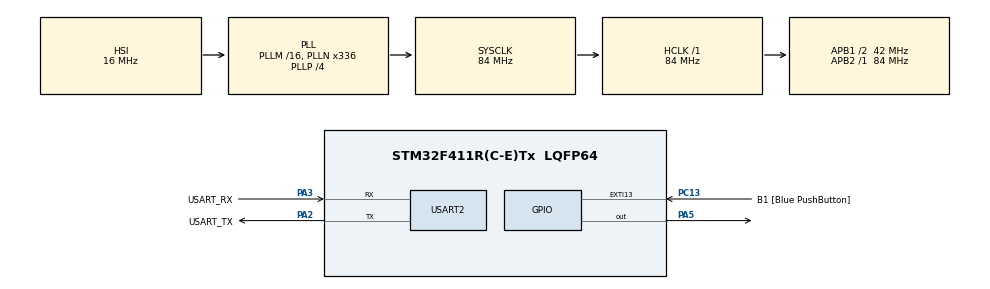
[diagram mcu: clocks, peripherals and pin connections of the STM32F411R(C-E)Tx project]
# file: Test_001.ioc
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Mcu.Family=STM32F4
Mcu.Name=STM32F411R(C-E)Tx
Mcu.Package=LQFP64
NVIC.PriorityGroup=NVIC_PRIORITYGROUP_0
NVIC.TIM3_IRQn=true\:0\:0\:false\:false\:true\:true\:true\:true
PA13.GPIO_Label=TMS
PA13.Mode=Serial_Wire
PA13.Signal=SYS_JTMS-SWDIO
PA14.GPIO_Label=TCK
PA14.Mode=Serial_Wire
PA14.Signal=SYS_JTCK-SWCLK
PA2.GPIO_Label=USART_TX
PA2.Mode=Asynchronous
PA2.Signal=USART2_TX
PA3.GPIO_Label=USART_RX
PA3.Mode=Asynchronous
PA3.Signal=USART2_RX
PA5.Signal=GPIO_Output
PA6.Signal=S_TIM3_CH1
PB3.GPIO_Label=SWO
PB3.Signal=SYS_JTDO-SWO
PC13-ANTI_TAMP.GPIO_Label=B1 [Blue PushButton]
PC13-ANTI_TAMP.GPIO_ModeDefaultEXTI=GPIO_MODE_IT_FALLING
PC13-ANTI_TAMP.Signal=GPXTI13
PC14-OSC32_IN.Mode=LSE-External-Oscillator
PC14-OSC32_IN.Signal=RCC_OSC32_IN
PC15-OSC32_OUT.Mode=LSE-External-Oscillator
PC15-OSC32_OUT.Signal=RCC_OSC32_OUT
PH0\ -\ OSC_IN.Mode=HSE-External-Clock-Source
PH0\ -\ OSC_IN.Signal=RCC_OSC_IN
PH1\ -\ OSC_OUT.Mode=HSE-External-Clock-Source
PH1\ -\ OSC_OUT.Signal=RCC_OSC_OUT
ProjectManager.HeapSize=0x200
ProjectManager.StackSize=0x400
ProjectManager.TargetToolchain=STM32CubeIDE
RCC.48MHZClocksFreq_Value=84000000
RCC.AHBFreq_Value=84000000
RCC.APB1CLKDivider=RCC_HCLK_DIV2
RCC.APB1Freq_Value=42000000
RCC.APB1TimFreq_Value=84000000
RCC.APB2Freq_Value=84000000
RCC.APB2TimFreq_Value=84000000
RCC.CortexFreq_Value=84000000
RCC.FLatency-AdvancedSettings=FLASH_LATENCY_2
RCC.HCLKFreq_Value=84000000
RCC.HSE_VALUE=8000000
RCC.HSI_VALUE=16000000
RCC.PLLN=336
RCC.PLLP=RCC_PLLP_DIV4
RCC.SYSCLKFreq_VALUE=84000000
RCC.SYSCLKSource=RCC_SYSCLKSOURCE_PLLCLK
RCC.VCOOutputFreq_Value=336000000
SH.S_TIM3_CH1.0=TIM3_CH1
TIM3.Period=90-1
TIM3.Prescaler=90-1
USART2.VirtualMode=VM_ASYNC
VP_TIM3_VS_ClockSourceINT.Mode=Internal
board=NUCLEO-F411RE

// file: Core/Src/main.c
/* USER CODE BEGIN Header */
/**
  ******************************************************************************
  * @file           : main.c
  * @brief          : Main program body
  ******************************************************************************
  * @attention
  *
  * Copyright (c) 2025 STMicroelectronics.
  * All rights reserved.
  *
  * This software is licensed under terms that can be found in the LICENSE file
  * in the root directory of this software component.
  * If no LICENSE file comes with this software, it is provided AS-IS.
  *
  ******************************************************************************
  */
/* USER CODE END Header */
#include "main.h"
#include <stdio.h>

/* USER CODE BEGIN PD */
#define TRIG_PIN GPIO_PIN_5
#define TRIG_PORT GPIOA
#ifdef __GNUC__
/* With GCC, small printf (option LD Linker->Libraries->Small printf
   set to 'Yes') calls __io_putchar() */
#define PUTCHAR_PROTOTYPE int __io_putchar(int ch)
#else
#define PUTCHAR_PROTOTYPE int fputc(int ch, FILE *f)
#endif /* __GNUC__ */
/* USER CODE END PD */

TIM_HandleTypeDef htim3;

UART_HandleTypeDef huart2;

/* USER CODE BEGIN PV */
uint32_t IC_Val1 = 0;
uint32_t IC_Val2 = 0;
uint32_t Difference = 0;
uint8_t Is_First_Captured = 0;  // is the first value captured ?
uint8_t Distance  = 0;

/* USER CODE END PV */

void SystemClock_Config(void);
static void MX_GPIO_Init(void);
static void MX_USART2_UART_Init(void);
static void MX_TIM3_Init(void);
/* USER CODE BEGIN PFP */
void delay (uint16_t time)
{
	__HAL_TIM_SET_COUNTER(&htim3, 0);
	while (__HAL_TIM_GET_COUNTER (&htim3) < time);
}

void HAL_TIM_IC_CaptureCallback(TIM_HandleTypeDef *htim)
{
	if (htim->Channel == HAL_TIM_ACTIVE_CHANNEL_1)  // if the interrupt source is channel1
	{
		if (Is_First_Captured==0) // if the first value is not captured
		{
			IC_Val1 = HAL_TIM_ReadCapturedValue(htim, TIM_CHANNEL_1); // read the first value
			Is_First_Captured = 1;  // set the first captured as true
			// Now change the polarity to falling edge
			__HAL_TIM_SET_CAPTUREPOLARITY(htim, TIM_CHANNEL_1, TIM_INPUTCHANNELPOLARITY_FALLING);
		}

		else if (Is_First_Captured==1)   // if the first is already captured
		{
			IC_Val2 = HAL_TIM_ReadCapturedValue(htim, TIM_CHANNEL_1);  // read second value
			__HAL_TIM_SET_COUNTER(htim, 0);  // reset the counter

			if (IC_Val2 > IC_Val1)
			{
				Difference = IC_Val2-IC_Val1;
			}

			else if (IC_Val1 > IC_Val2)
			{
				Difference = (0xffff - IC_Val1) + IC_Val2;
			}

			Distance = Difference * .034/2;
			Is_First_Captured = 0; // set it back to false

			// set polarity to rising edge
			__HAL_TIM_SET_CAPTUREPOLARITY(htim, TIM_CHANNEL_1, TIM_INPUTCHANNELPOLARITY_RISING);
			__HAL_TIM_DISABLE_IT(&htim3, TIM_IT_CC1);
		}
	}
}

void HCSR04_Read (void)
{
	HAL_GPIO_WritePin(TRIG_PORT, TRIG_PIN, GPIO_PIN_SET);  // pull the TRIG pin HIGH
	delay(10);  // wait for 10 us
	HAL_GPIO_WritePin(TRIG_PORT, TRIG_PIN, GPIO_PIN_RESET);  // pull the TRIG pin low

	__HAL_TIM_ENABLE_IT(&htim3, TIM_IT_CC1);
}
/* USER CODE END PFP */

int main(void)
{

  /* USER CODE BEGIN 1 */
	printf("main() Start!\r\n");
  /* USER CODE END 1 */

  /* MCU Configuration--------------------------------------------------------*/

  /* Reset of all peripherals, Initializes the Flash interface and the Systick. */
  HAL_Init();

  /* Configure the system clock */
  SystemClock_Config();

  /* Initialize all configured peripherals */
  MX_GPIO_Init();
  MX_USART2_UART_Init();
  MX_TIM3_Init();
  /* USER CODE BEGIN 2 */
  HAL_TIM_IC_Start_IT(&htim3, TIM_CHANNEL_1);
  /* USER CODE END 2 */

  /* Infinite loop */
  /* USER CODE BEGIN WHILE */
  while (1)
  {
	  HCSR04_Read();
	 printf("%d cm\r\n",Distance);
	 HAL_Delay(1000);
    /* USER CODE END WHILE */

  }
}

void SystemClock_Config(void)
{
  RCC_OscInitTypeDef RCC_OscInitStruct = {0};
  RCC_ClkInitTypeDef RCC_ClkInitStruct = {0};

  /** Configure the main internal regulator output voltage
  */
  __HAL_RCC_PWR_CLK_ENABLE();
  __HAL_PWR_VOLTAGESCALING_CONFIG(PWR_REGULATOR_VOLTAGE_SCALE1);

  /** Initializes the RCC Oscillators according to the specified parameters
  * in the RCC_OscInitTypeDef structure.
  */
  RCC_OscInitStruct.OscillatorType = RCC_OSCILLATORTYPE_HSI;
  RCC_OscInitStruct.HSIState = RCC_HSI_ON;
  RCC_OscInitStruct.HSICalibrationValue = RCC_HSICALIBRATION_DEFAULT;
  RCC_OscInitStruct.PLL.PLLState = RCC_PLL_ON;
  RCC_OscInitStruct.PLL.PLLSource = RCC_PLLSOURCE_HSI;
  RCC_OscInitStruct.PLL.PLLM = 16;
  RCC_OscInitStruct.PLL.PLLN = 336;
  RCC_OscInitStruct.PLL.PLLP = RCC_PLLP_DIV4;
  RCC_OscInitStruct.PLL.PLLQ = 4;
  if (HAL_RCC_OscConfig(&RCC_OscInitStruct) != HAL_OK)
  {
    Error_Handler();
  }

  /** Initializes the CPU, AHB and APB buses clocks
  */
  RCC_ClkInitStruct.ClockType = RCC_CLOCKTYPE_HCLK|RCC_CLOCKTYPE_SYSCLK
                              |RCC_CLOCKTYPE_PCLK1|RCC_CLOCKTYPE_PCLK2;
  RCC_ClkInitStruct.SYSCLKSource = RCC_SYSCLKSOURCE_PLLCLK;
  RCC_ClkInitStruct.AHBCLKDivider = RCC_SYSCLK_DIV1;
  RCC_ClkInitStruct.APB1CLKDivider = RCC_HCLK_DIV2;
  RCC_ClkInitStruct.APB2CLKDivider = RCC_HCLK_DIV1;

  if (HAL_RCC_ClockConfig(&RCC_ClkInitStruct, FLASH_LATENCY_2) != HAL_OK)
  {
    Error_Handler();
  }
}

static void MX_TIM3_Init(void)
{

  TIM_ClockConfigTypeDef sClockSourceConfig = {0};
  TIM_MasterConfigTypeDef sMasterConfig = {0};

  htim3.Instance = TIM3;
  htim3.Init.Prescaler = 90-1;
  htim3.Init.CounterMode = TIM_COUNTERMODE_UP;
  htim3.Init.Period = 90-1;
  htim3.Init.ClockDivision = TIM_CLOCKDIVISION_DIV1;
  htim3.Init.AutoReloadPreload = TIM_AUTORELOAD_PRELOAD_DISABLE;
  if (HAL_TIM_Base_Init(&htim3) != HAL_OK)
  {
    Error_Handler();
  }
  sClockSourceConfig.ClockSource = TIM_CLOCKSOURCE_INTERNAL;
  if (HAL_TIM_ConfigClockSource(&htim3, &sClockSourceConfig) != HAL_OK)
  {
    Error_Handler();
  }
  sMasterConfig.MasterOutputTrigger = TIM_TRGO_RESET;
  sMasterConfig.MasterSlaveMode = TIM_MASTERSLAVEMODE_DISABLE;
  if (HAL_TIMEx_MasterConfigSynchronization(&htim3, &sMasterConfig) != HAL_OK)
  {
    Error_Handler();
  }

}

static void MX_USART2_UART_Init(void)
{

  huart2.Instance = USART2;
  huart2.Init.BaudRate = 115200;
  huart2.Init.WordLength = UART_WORDLENGTH_8B;
  huart2.Init.StopBits = UART_STOPBITS_1;
  huart2.Init.Parity = UART_PARITY_NONE;
  huart2.Init.Mode = UART_MODE_TX_RX;
  huart2.Init.HwFlowCtl = UART_HWCONTROL_NONE;
  huart2.Init.OverSampling = UART_OVERSAMPLING_16;
  if (HAL_UART_Init(&huart2) != HAL_OK)
  {
    Error_Handler();
  }

}

static void MX_GPIO_Init(void)
{
  GPIO_InitTypeDef GPIO_InitStruct = {0};

  /* GPIO Ports Clock Enable */
  __HAL_RCC_GPIOC_CLK_ENABLE();
  __HAL_RCC_GPIOH_CLK_ENABLE();
  __HAL_RCC_GPIOA_CLK_ENABLE();
  __HAL_RCC_GPIOB_CLK_ENABLE();

  /*Configure GPIO pin Output Level */
  HAL_GPIO_WritePin(GPIOA, GPIO_PIN_5, GPIO_PIN_RESET);

  /*Configure GPIO pin : B1_Pin */
  GPIO_InitStruct.Pin = B1_Pin;
  GPIO_InitStruct.Mode = GPIO_MODE_IT_FALLING;
  GPIO_InitStruct.Pull = GPIO_NOPULL;
  HAL_GPIO_Init(B1_GPIO_Port, &GPIO_InitStruct);

  /*Configure GPIO pin : PA5 */
  GPIO_InitStruct.Pin = GPIO_PIN_5;
  GPIO_InitStruct.Mode = GPIO_MODE_OUTPUT_PP;
  GPIO_InitStruct.Pull = GPIO_NOPULL;
  GPIO_InitStruct.Speed = GPIO_SPEED_FREQ_LOW;
  HAL_GPIO_Init(GPIOA, &GPIO_InitStruct);

}

/* USER CODE BEGIN 4 */
PUTCHAR_PROTOTYPE
{
  /* Place your implementation of fputc here */
  /* e.g. write a character to the USART6 and Loop until the end of transmission */
  HAL_UART_Transmit(&huart2, (uint8_t *)&ch, 1, 0xFFFF);

  return ch;
}
/* USER CODE END 4 */

void Error_Handler(void)
{
  __disable_irq();
  while (1)
  {
  }
}
